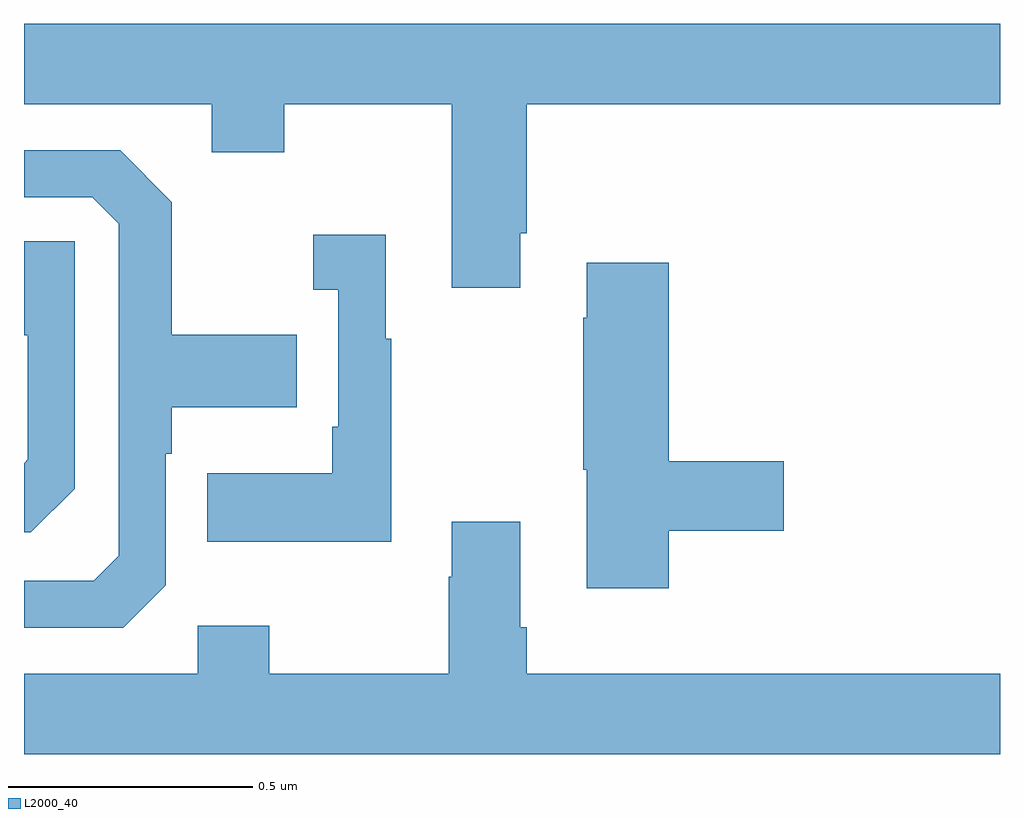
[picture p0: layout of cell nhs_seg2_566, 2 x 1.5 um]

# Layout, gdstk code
import gdstk
lib = gdstk.Library(unit=1e-6, precision=1e-09)
def P(c, l, *ps):  # polygons
    for p in ps: c.add(gdstk.Polygon(p, *l))
L2000_40 = (2000, 40)

nhs_seg2_566 = lib.new_cell('nhs_seg2_566')
P(nhs_seg2_566, L2000_40, [(119.017,586.099),(119.03,586.099),(119.03,586.364),(120,586.364),(120,586.528),(118,586.528),(118,586.364),(118.385,586.364),(118.385,586.265),(118.533,586.265),(118.533,586.364),(118.877,586.364),(118.877,585.987),(119.017,585.987)],
  [(118.29,585.378),(118.29,585.647),(118.303,585.647),(118.303,585.743),(118.559,585.743),(118.559,585.891),(118.303,585.891),(118.303,586.163),(118.197,586.269),(118,586.269),(118,586.173),(118.14,586.173),(118.194,586.119),(118.194,585.438),(118.143,585.387),(118,585.387),(118,585.291),(118.203,585.291)],
  [(118.753,585.883),(118.741,585.883),(118.741,586.096),(118.593,586.096),(118.593,585.983),(118.644,585.983),(118.644,585.703),(118.632,585.703),(118.632,585.607),(118.375,585.607),(118.375,585.467),(118.753,585.467)],
  [(118.104,585.576),(118.104,586.083),(118,586.083),(118,585.89),(118.008,585.89),(118.008,585.636),(118,585.628),(118,585.486),(118.014,585.486)],
  [(119.321,585.49),(119.557,585.49),(119.557,585.632),(119.321,585.632),(119.321,586.039),(119.153,586.039),(119.153,585.926),(119.146,585.926),(119.146,585.615),(119.153,585.615),(119.153,585.372),(119.321,585.372)],
  [(120,585.196),(119.03,585.196),(119.03,585.292),(119.017,585.292),(119.017,585.508),(118.877,585.508),(118.877,585.395),(118.87,585.395),(118.87,585.196),(118.503,585.196),(118.503,585.295),(118.356,585.295),(118.356,585.196),(118,585.196),(118,585.032),(120,585.032)])

lib.write_gds('nhs_seg2_566.gds')
